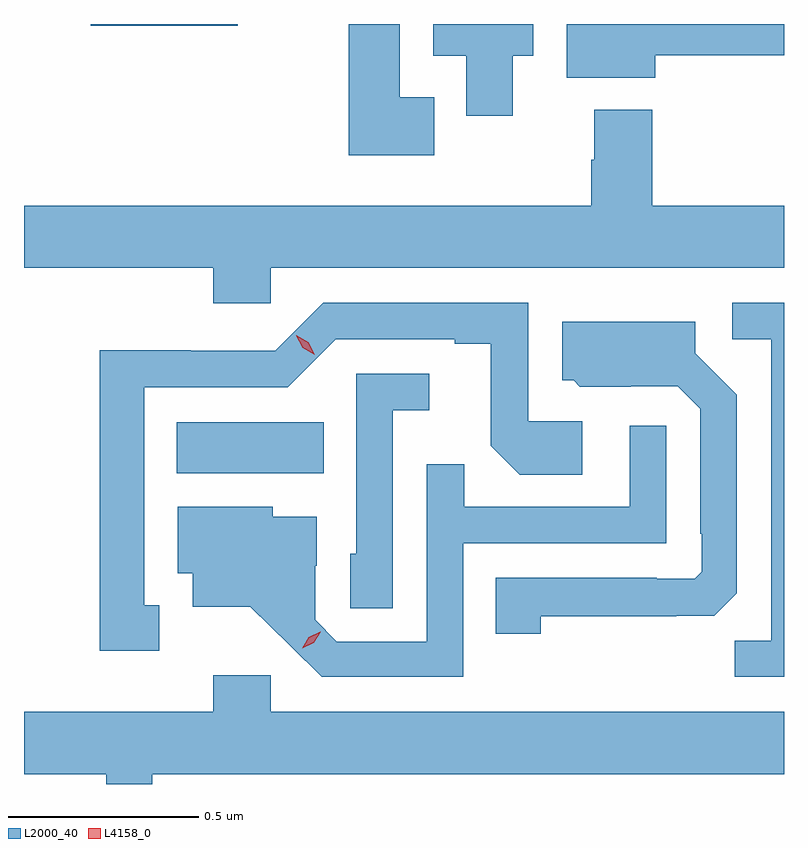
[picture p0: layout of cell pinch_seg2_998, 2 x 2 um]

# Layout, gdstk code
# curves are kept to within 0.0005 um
import gdstk
lib = gdstk.Library(unit=1e-6, precision=1e-09)
def R(c, l, rs):  # rectangles x0, y0, x1, y1
    for r in rs: c.add(gdstk.rectangle(r[:2], r[2:], *l))
def P(c, l, *ps):  # polygons
    for p in ps: c.add(gdstk.Polygon(p, *l))
L2000_40 = (2000, 40)
L4158_0 = (4158, 0)

pinch_seg2_998 = lib.new_cell('pinch_seg2_998')
R(pinch_seg2_998, L2000_40, [(347.381,627.116,347.768,627.25), (347.154,628.294,347.542,628.298)])
P(pinch_seg2_998, L2000_40, [(348.058,628.105),(347.968,628.105),(347.968,628.298),(347.834,628.298),(347.834,627.953),(348.058,627.953)],
  [(348.64,628.216),(348.979,628.216),(348.979,628.298),(348.407,628.298),(348.407,628.157),(348.64,628.157)],
  [(348.265,628.214),(348.319,628.214),(348.319,628.298),(348.056,628.298),(348.056,628.214),(348.143,628.214),(348.143,628.056),(348.265,628.056)],
  [(347.628,627.656),(348.979,627.656),(348.979,627.82),(348.632,627.82),(348.632,628.072),(348.479,628.072),(348.479,627.941),(348.472,627.941),(348.472,627.82),(346.979,627.82),(346.979,627.656),(347.477,627.656),(347.477,627.563),(347.628,627.563)],
  [(348.979,627.564),(348.843,627.564),(348.843,627.468),(348.945,627.468),(348.945,626.675),(348.85,626.675),(348.85,626.58),(348.979,626.58)],
  [(347.335,626.769),(347.296,626.769),(347.296,627.342),(347.673,627.342),(347.799,627.468),(348.113,627.468),(348.113,627.456),(348.207,627.456),(348.207,627.188),(348.283,627.112),(348.448,627.112),(348.448,627.252),(348.306,627.252),(348.306,627.564),(347.766,627.564),(347.64,627.438),(347.418,627.438),(347.418,627.44),(347.178,627.44),(347.178,626.649),(347.335,626.649)],
  [(348.339,626.74),(348.695,626.74),(348.695,626.741),(348.796,626.741),(348.855,626.8),(348.855,627.322),(348.745,627.432),(348.745,627.514),(348.395,627.514),(348.395,627.36),(348.426,627.36),(348.442,627.344),(348.576,627.344),(348.576,627.345),(348.699,627.345),(348.759,627.285),(348.759,626.956),(348.762,626.956),(348.762,626.856),(348.744,626.838),(348.644,626.838),(348.644,626.841),(348.22,626.841),(348.22,626.694),(348.339,626.694)],
  [(347.949,627.281),(348.046,627.281),(348.046,627.378),(347.853,627.378),(347.853,626.904),(347.838,626.904),(347.838,626.761),(347.949,626.761)],
  [(348.135,626.931),(348.669,626.931),(348.669,627.241),(348.573,627.241),(348.573,627.027),(348.137,627.027),(348.137,627.14),(348.039,627.14),(348.039,626.673),(347.802,626.673),(347.745,626.73),(347.745,626.872),(347.749,626.872),(347.749,627.001),(347.634,627.001),(347.634,627.028),(347.384,627.028),(347.384,626.852),(347.423,626.852),(347.423,626.765),(347.575,626.765),(347.762,626.58),(348.135,626.58)],
  [(346.979,626.324),(347.196,626.324),(347.196,626.298),(347.317,626.298),(347.317,626.324),(348.979,626.324),(348.979,626.488),(347.628,626.488),(347.628,626.584),(347.477,626.584),(347.477,626.488),(346.979,626.488)])
P(pinch_seg2_998, L4158_0, [(347.711,626.655),(347.711,626.655),(347.728,626.684),(347.759,626.699),(347.76,626.699),(347.76,626.699),(347.742,626.67),(347.711,626.655)],
  [(347.744,627.427),(347.713,627.446),(347.696,627.478),(347.696,627.479),(347.696,627.479),(347.727,627.46),(347.744,627.427),(347.744,627.427)])

lib.write_gds('pinch_seg2_998.gds')
